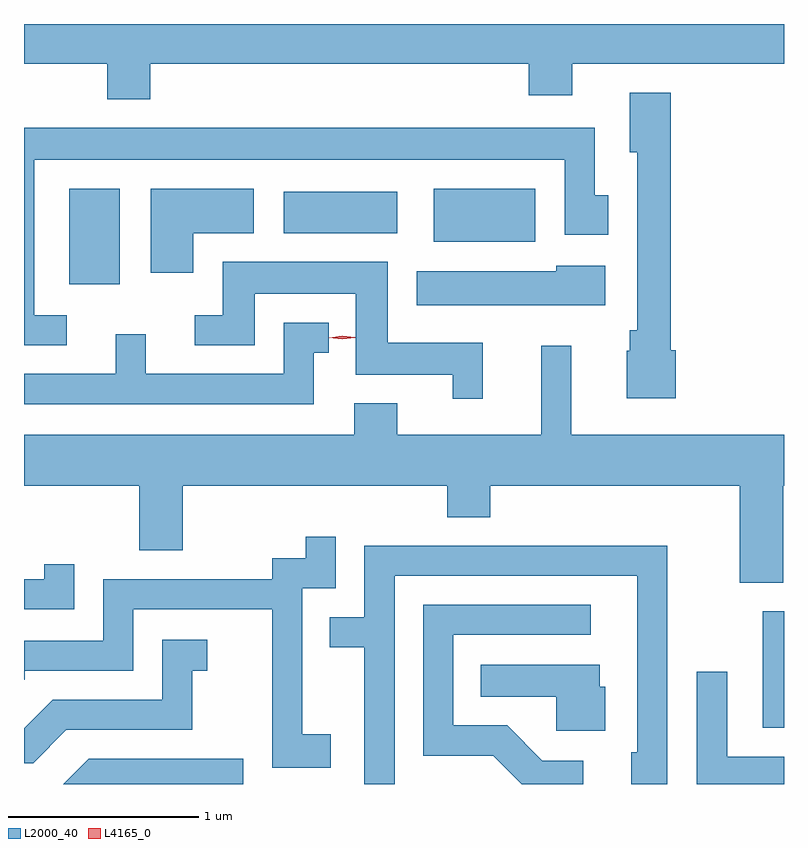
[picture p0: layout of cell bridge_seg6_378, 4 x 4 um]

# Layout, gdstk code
import gdstk
lib = gdstk.Library(unit=1e-6, precision=1e-09)
def R(c, l, rs):  # rectangles x0, y0, x1, y1
    for r in rs: c.add(gdstk.rectangle(r[:2], r[2:], *l))
def P(c, l, *ps):  # polygons
    for p in ps: c.add(gdstk.Polygon(p, *l))
L2000_40 = (2000, 40)
L4165_0 = (4165, 0)

bridge_seg6_378 = lib.new_cell('bridge_seg6_378')
R(bridge_seg6_378, L2000_40, [(907.511,1628.681,907.624,1629.294), (903.861,1631.016,904.129,1631.519), (905.781,1631.241,906.314,1631.519), (904.991,1631.286,905.589,1631.504)])
P(bridge_seg6_378, L2000_40, [(904.289,1632.176),(906.281,1632.176),(906.281,1632.011),(906.509,1632.011),(906.509,1632.176),(907.624,1632.176),(907.624,1632.386),(903.624,1632.386),(903.624,1632.176),(904.061,1632.176),(904.061,1631.991),(904.289,1631.991)],
  [(907.054,1630.669),(907.029,1630.669),(907.029,1632.024),(906.811,1632.024),(906.811,1631.711),(906.851,1631.711),(906.851,1630.774),(906.811,1630.774),(906.811,1630.665),(906.796,1630.665),(906.796,1630.416),(907.054,1630.416)],
  [(903.848,1630.854),(903.679,1630.854),(903.679,1631.671),(906.471,1631.671),(906.471,1631.276),(906.699,1631.276),(906.699,1631.484),(906.629,1631.484),(906.629,1631.839),(903.624,1631.839),(903.624,1630.696),(903.848,1630.696)],
  [(904.514,1631.286),(904.834,1631.286),(904.834,1631.519),(904.291,1631.519),(904.291,1631.076),(904.514,1631.076)],
  [(906.039,1630.709),(905.539,1630.709),(905.539,1631.134),(904.671,1631.134),(904.671,1630.854),(904.523,1630.854),(904.523,1630.696),(904.839,1630.696),(904.839,1630.966),(905.371,1630.966),(905.371,1630.541),(905.881,1630.541),(905.881,1630.413),(906.039,1630.413)],
  [(906.684,1631.114),(906.426,1631.114),(906.426,1631.084),(905.691,1631.084),(905.691,1630.906),(906.684,1630.906)],
  [(905.149,1630.656),(905.228,1630.656),(905.228,1630.814),(904.991,1630.814),(904.991,1630.544),(904.264,1630.544),(904.264,1630.753),(904.106,1630.753),(904.106,1630.544),(903.624,1630.544),(903.624,1630.386),(905.149,1630.386)],
  [(907.619,1629.956),(907.624,1629.956),(907.624,1630.224),(906.504,1630.224),(906.504,1630.693),(906.346,1630.693),(906.346,1630.224),(905.589,1630.224),(905.589,1630.389),(905.361,1630.389),(905.361,1630.224),(903.624,1630.224),(903.624,1629.956),(904.231,1629.956),(904.231,1629.616),(904.459,1629.616),(904.459,1629.956),(905.851,1629.956),(905.851,1629.791),(906.079,1629.791),(906.079,1629.956),(907.391,1629.956),(907.391,1629.446),(907.619,1629.446)],
  [(905.239,1628.649),(905.089,1628.649),(905.089,1629.416),(905.264,1629.416),(905.264,1629.688),(905.106,1629.688),(905.106,1629.574),(904.931,1629.574),(904.931,1629.464),(904.041,1629.464),(904.041,1629.139),(903.624,1629.139),(903.624,1628.936),(903.629,1628.936),(903.629,1628.981),(904.199,1628.981),(904.199,1629.306),(904.931,1629.306),(904.931,1628.471),(905.239,1628.471)],
  [(905.574,1629.481),(906.851,1629.481),(906.851,1628.554),(906.821,1628.554),(906.821,1628.386),(907.009,1628.386),(907.009,1629.639),(905.416,1629.639),(905.416,1629.264),(905.233,1629.264),(905.233,1629.106),(905.416,1629.106),(905.416,1628.386),(905.574,1628.386)],
  [(903.889,1629.543),(903.731,1629.543),(903.731,1629.464),(903.624,1629.464),(903.624,1629.306),(903.889,1629.306)],
  [(906.568,1628.509),(906.352,1628.509),(906.167,1628.694),(905.884,1628.694),(905.884,1629.171),(906.608,1629.171),(906.608,1629.329),(905.726,1629.329),(905.726,1628.536),(906.094,1628.536),(906.244,1628.386),(906.568,1628.386)],
  [(903.847,1628.671),(904.509,1628.671),(904.509,1628.981),(904.588,1628.981),(904.588,1629.144),(904.351,1629.144),(904.351,1628.829),(903.774,1628.829),(903.624,1628.679),(903.624,1628.496),(903.672,1628.496)],
  [(906.684,1628.899),(906.654,1628.899),(906.654,1629.014),(906.028,1629.014),(906.028,1628.846),(906.426,1628.846),(906.426,1628.666),(906.684,1628.666)],
  [(907.624,1628.529),(907.324,1628.529),(907.324,1628.978),(907.166,1628.978),(907.166,1628.386),(907.624,1628.386)],
  [(904.779,1628.519),(903.964,1628.519),(903.831,1628.386),(904.779,1628.386)])
P(bridge_seg6_378, L4165_0, [(905.298,1630.726),(905.229,1630.735),(905.229,1630.735),(905.229,1630.736),(905.298,1630.746),(905.368,1630.737),(905.368,1630.736),(905.368,1630.736)])

lib.write_gds('bridge_seg6_378.gds')
